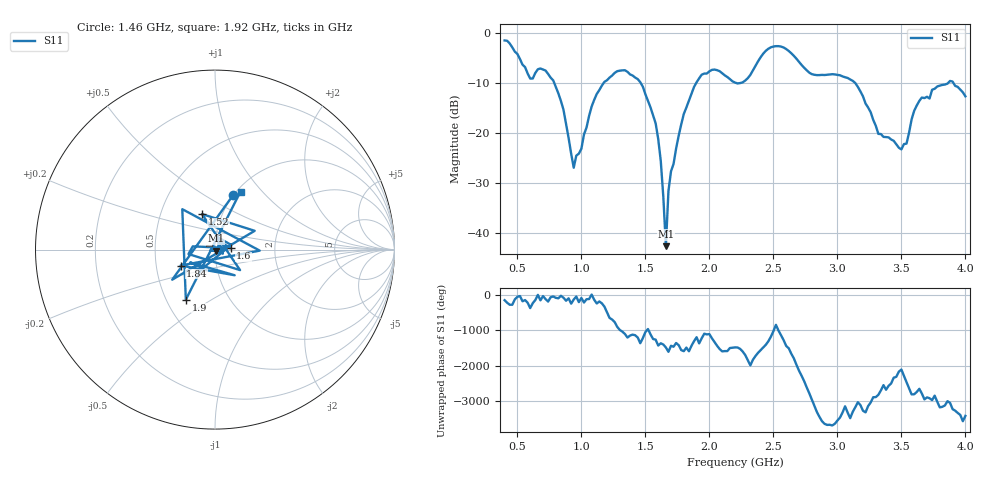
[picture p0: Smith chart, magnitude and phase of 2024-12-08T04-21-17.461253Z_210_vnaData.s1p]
!Created with skrf (http://scikit-rf.org).
# Hz S RI R 50.0
!freq ReS11 ImS11
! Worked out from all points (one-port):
!   181 points, 400 MHz to 4 GHz, reference 50 ohm
!   lowest |S11| = -42.7 dB at 1.66 GHz (marker M1), VSWR 1.01, Z = 50.5 - j0.554 ohm
!   |S11| at or under -10 dB: 788.5 MHz to 1.173 GHz (384.5 MHz wide, 39.2 % of centre); 1.464 GHz to 1.896 GHz (432.1 MHz wide, 25.7 % of centre); 3.14 GHz to 3.864 GHz (723.3 MHz wide, 20.7 % of centre) (the widest 3 of 5)
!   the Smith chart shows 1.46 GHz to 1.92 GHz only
!   S11 on the Smith chart (normalised r, x): 1.46 GHz: 1.00, +0.68; 1.52 GHz: 0.80, +0.33; 1.6 GHz: 1.19, +0.02; 1.84 GHz: 0.67, -0.12; 1.9 GHz: 0.63, -0.39; 1.92 GHz: 1.04, +0.77
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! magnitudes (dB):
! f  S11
! 400 MHz  -1.4
! 600 MHz  -9.1
! 720 MHz  -7.5
! 860 MHz  -15.3
! 940 MHz  -26.9
! 1.12 GHz  -12.2
! 1.3 GHz  -7.5
! 1.46 GHz  -9.8
! 1.52 GHz  -13.5
! 1.6 GHz  -21.2
! 1.62 GHz  -25.6
! 1.66 GHz  -42.7
! 1.68 GHz  -31.6
! 1.76 GHz  -20.5
! 1.84 GHz  -13.5
! 1.9 GHz  -9.8
! 1.92 GHz  -9.0
! 2.2 GHz  -9.9
! 2.48 GHz  -2.8
! 2.66 GHz  -4.5
! 3.1 GHz  -9.3
! 3.32 GHz  -20.2
! 3.5 GHz  -23.3
! 3.56 GHz  -19.9
! 3.62 GHz  -14.5
! 3.74 GHz  -11.3
! 3.88 GHz  -9.6
! 4 GHz  -12.6
